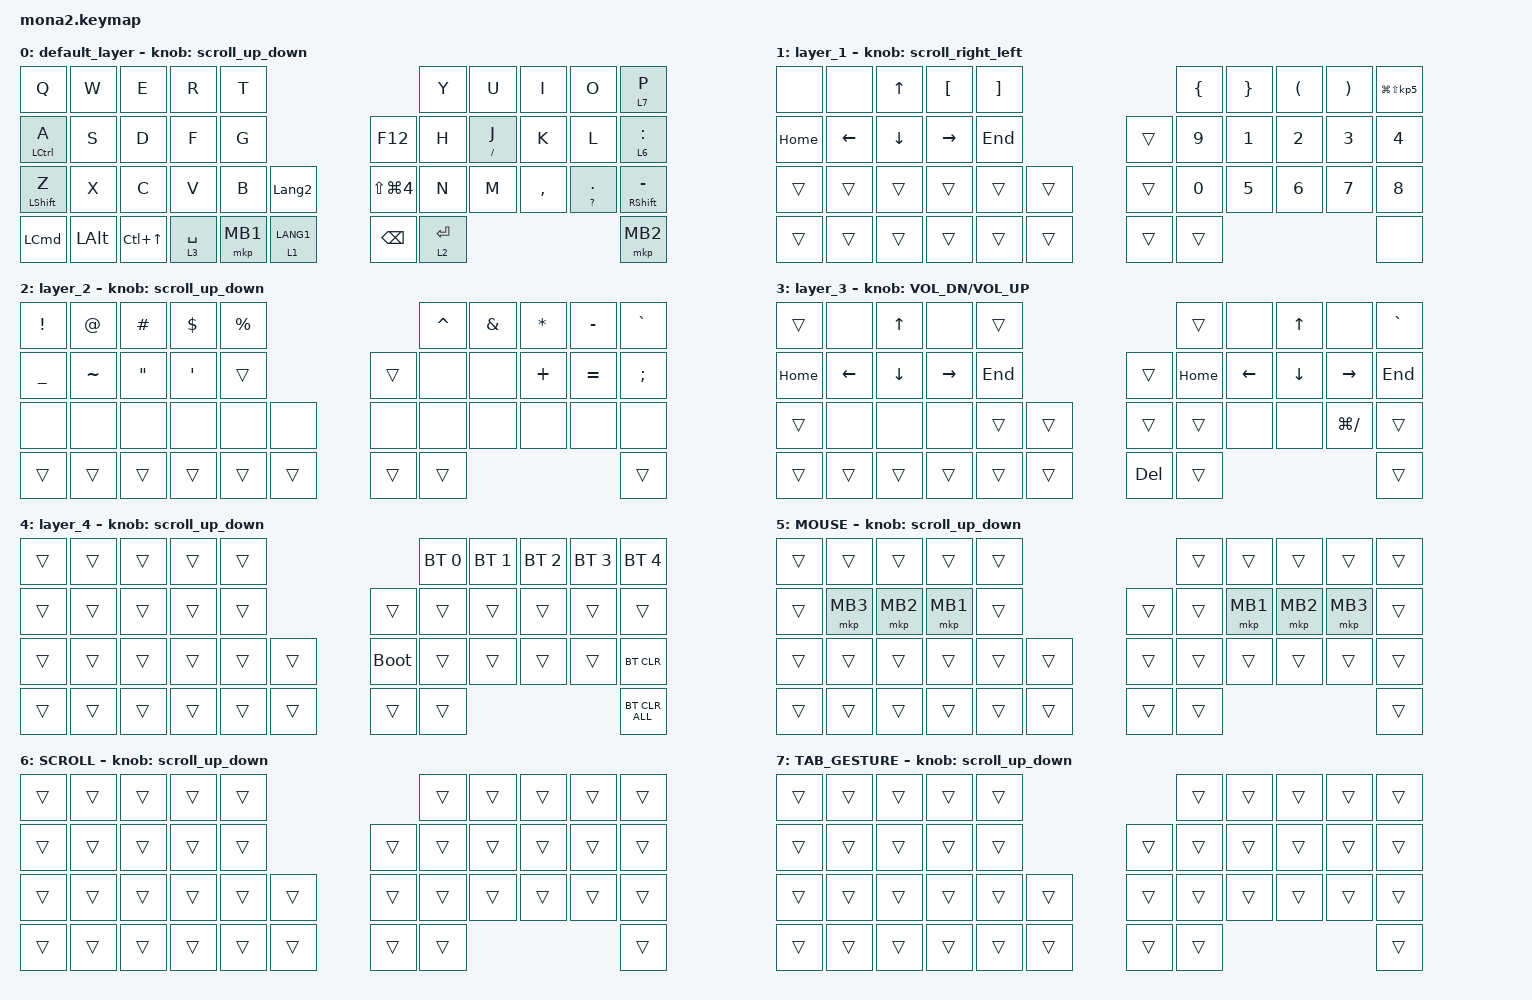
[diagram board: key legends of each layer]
#include <input/processors.dtsi>
#include <input/processors/zmk-input-processor-keybind.dtsi>
#include <dt-bindings/zmk/input_transform.h>
#include <zephyr/dt-bindings/input/input-event-codes.h>
#include <behaviors.dtsi>
#include <dt-bindings/zmk/bt.h>
#include <dt-bindings/zmk/keys.h>
#include <dt-bindings/zmk/pointing.h>

#define ZMK_POINTING_DEFAULT_SCRL_VAL 100
#define MOUSE 5
#define SCROLL 6
#define TAB_GESTURE 7

&mt {
    flavor = "balanced";
    quick-tap-ms = <0>;
};

&lt {
    quick-tap-ms = <300>;
    flavor = "balanced";
};

/ {
    zip_xy_to_rel_rx_ry: zip_xy_to_rel_rx_ry {
        compatible = "zmk,input-processor-code-mapper";
        #input-processor-cells = <0>;
        type = <INPUT_EV_REL>;
        map = <
INPUT_REL_X INPUT_REL_MISC
               INPUT_REL_Y INPUT_REL_DIAL
        >;
    };

    zip_keybind_tab_switch: zip_keybind_tab_switch {
        compatible = "zmk,input-processor-keybind";
        #input-processor-cells = <0>;
        mode = <1>;
        threshold = <4>;
        tick = <160>;
        wait-ms = <140>;
        tap-ms = <16>;
        max_pending_activations = <1>;
        bindings = <&kp LC(TAB)>, <&kp LC(LS(TAB))>, <&kp LG(T)>, <&kp LG(W)>;
    };

    combos {
        compatible = "zmk,combos";

        layer4_ESC {
            bindings = <&lt 4 ESC>;
            key-positions = <39 38>;
        };

        tab {
            bindings = <&kp TAB>;
            key-positions = <11 12>;
        };
    };

    macros {
        to_layer_0: to_layer_0 {
            compatible = "zmk,behavior-macro-one-param";
            #binding-cells = <1>;
            bindings = <&to 0 &macro_param_1to1 &kp MACRO_PLACEHOLDER>;
            label = "TO_LAYER_0";
        };
    };

    behaviors {
        lt_to_layer_0: lt_to_layer_0 {
            compatible = "zmk,behavior-hold-tap";
            label = "LAYER_TAP_TO_0";
            bindings = <&mo>, <&to_layer_0>;

            #binding-cells = <2>;
            tapping-term-ms = <200>;
        };

        scroll_up_down: mouse_wheel_up_down {
            compatible = "zmk,behavior-sensor-rotate";
            #sensor-binding-cells = <0>;
            bindings = <&msc SCRL_DOWN>, <&msc SCRL_UP>;

            tap-ms = <20>;
        };

        scroll_right_left: mouse_wheel_right_left {
            compatible = "zmk,behavior-sensor-rotate";
            #sensor-binding-cells = <0>;
            bindings = <&msc SCRL_LEFT>, <&msc SCRL_RIGHT>;

            tap-ms = <20>;
        };
    };

    keymap {
        compatible = "zmk,keymap";

        default_layer {
            bindings = <
&kp Q               &kp W         &kp E             &kp R        &kp T                                                     &kp Y        &kp U        &kp I      &kp O             &lt 7 P
&mt LEFT_CONTROL A  &kp S         &kp D             &kp F        &kp G                               &kp F12               &kp H        &mt SLASH J  &kp K      &kp L             &lt 6 COLON
&mt LEFT_SHIFT Z    &kp X         &kp C             &kp V        &kp B     &kp LANGUAGE_2            &kp LS(LG(NUMBER_4))  &kp N        &kp M        &kp COMMA  &mt QUESTION DOT  &mt RIGHT_SHIFT MINUS
&kp LEFT_COMMAND    &kp LEFT_ALT  &kp LC(UP_ARROW)  &lt 3 SPACE  &mkp MB1  &lt_to_layer_0 1 LANG1    &kp BACKSPACE         &lt 2 ENTER                                            &mkp MB2
            >;

            sensor-bindings = <&scroll_up_down>;
        };

        layer_1 {
            bindings = <
&none     &none           &kp UP_ARROW    &kp LEFT_BRACKET  &kp RIGHT_BRACKET                    &kp LEFT_BRACE  &kp RIGHT_BRACE  &kp LEFT_PARENTHESIS  &kp RIGHT_PARENTHESIS  &kp LG(LS(KP_NUMBER_5))
&kp HOME  &kp LEFT_ARROW  &kp DOWN_ARROW  &kp RIGHT_ARROW   &kp END                      &trans  &kp NUMBER_9    &kp NUMBER_1     &kp NUMBER_2          &kp NUMBER_3           &kp NUMBER_4
&trans    &trans          &trans          &trans            &trans             &trans    &trans  &kp NUMBER_0    &kp NUMBER_5     &kp NUMBER_6          &kp NUMBER_7           &kp NUMBER_8
&trans    &trans          &trans          &trans            &trans             &trans    &trans  &trans                                                                        &none
            >;

            sensor-bindings = <&scroll_right_left>;
        };

        layer_2 {
            bindings = <
&kp EXCLAMATION  &kp AT_SIGN  &kp POUND          &kp DOLLAR  &kp PERCENT                    &kp CARET  &kp AMPERSAND  &kp ASTERISK  &kp MINUS  &kp GRAVE
&kp UNDERSCORE   &kp TILDE    &kp DOUBLE_QUOTES  &kp SQT     &trans                 &trans  &none      &none          &kp PLUS      &kp EQUAL  &kp SEMI
&none            &none        &none              &none       &none        &none     &none   &none      &none          &none         &none      &none
&trans           &trans       &trans             &trans      &trans       &trans    &trans  &trans                                             &trans
            >;

            sensor-bindings = <&scroll_up_down>;
        };

        layer_3 {
            bindings = <
&trans    &none           &kp UP_ARROW    &none            &trans                         &trans    &none           &kp UP_ARROW    &none            &kp GRAVE
&kp HOME  &kp LEFT_ARROW  &kp DOWN_ARROW  &kp RIGHT_ARROW  &kp END            &trans      &kp HOME  &kp LEFT_ARROW  &kp DOWN_ARROW  &kp RIGHT_ARROW  &kp END
&trans    &none           &none           &none            &trans   &trans    &trans      &trans    &none           &none           &kp LG(SLASH)    &trans
&trans    &trans          &trans          &trans           &trans   &trans    &kp DELETE  &trans                                                     &trans
            >;

            sensor-bindings = <&inc_dec_kp C_VOL_DN C_VOL_UP>;
        };

        layer_4 {
            bindings = <
&trans  &trans  &trans  &trans  &trans                         &bt BT_SEL 0  &bt BT_SEL 1  &bt BT_SEL 2  &bt BT_SEL 3  &bt BT_SEL 4
&trans  &trans  &trans  &trans  &trans            &trans       &trans        &trans        &trans        &trans        &trans
&trans  &trans  &trans  &trans  &trans  &trans    &bootloader  &trans        &trans        &trans        &trans        &bt BT_CLR
&trans  &trans  &trans  &trans  &trans  &trans    &trans       &trans                                                  &bt BT_CLR_ALL
            >;

            sensor-bindings = <&scroll_up_down>;
        };

        MOUSE {
            bindings = <
&trans  &trans    &trans    &trans    &trans                    &trans  &trans    &trans    &trans    &trans
&trans  &mkp MB3  &mkp MB2  &mkp MB1  &trans            &trans  &trans  &mkp MB1  &mkp MB2  &mkp MB3  &trans
&trans  &trans    &trans    &trans    &trans  &trans    &trans  &trans  &trans    &trans    &trans    &trans
&trans  &trans    &trans    &trans    &trans  &trans    &trans  &trans                                &trans
            >;

            sensor-bindings = <&scroll_up_down>;
        };

        SCROLL {
            bindings = <
&trans  &trans  &trans  &trans  &trans                    &trans  &trans  &trans  &trans  &trans
&trans  &trans  &trans  &trans  &trans            &trans  &trans  &trans  &trans  &trans  &trans
&trans  &trans  &trans  &trans  &trans  &trans    &trans  &trans  &trans  &trans  &trans  &trans
&trans  &trans  &trans  &trans  &trans  &trans    &trans  &trans                          &trans
            >;

            sensor-bindings = <&scroll_up_down>;
        };

        TAB_GESTURE {
            bindings = <
&trans  &trans  &trans  &trans  &trans                    &trans  &trans  &trans  &trans  &trans
&trans  &trans  &trans  &trans  &trans            &trans  &trans  &trans  &trans  &trans  &trans
&trans  &trans  &trans  &trans  &trans  &trans    &trans  &trans  &trans  &trans  &trans  &trans
&trans  &trans  &trans  &trans  &trans  &trans    &trans  &trans                          &trans
            >;

            sensor-bindings = <&scroll_up_down>;
        };
    };
};

&trackball_central_listener {
    tab_switcher {
        layers = <TAB_GESTURE>;
        input-processors =
            <&zip_xy_transform INPUT_TRANSFORM_X_INVERT>,
            <&zip_keybind_tab_switch>,
            <&zip_xy_to_rel_rx_ry>;
    };
};
